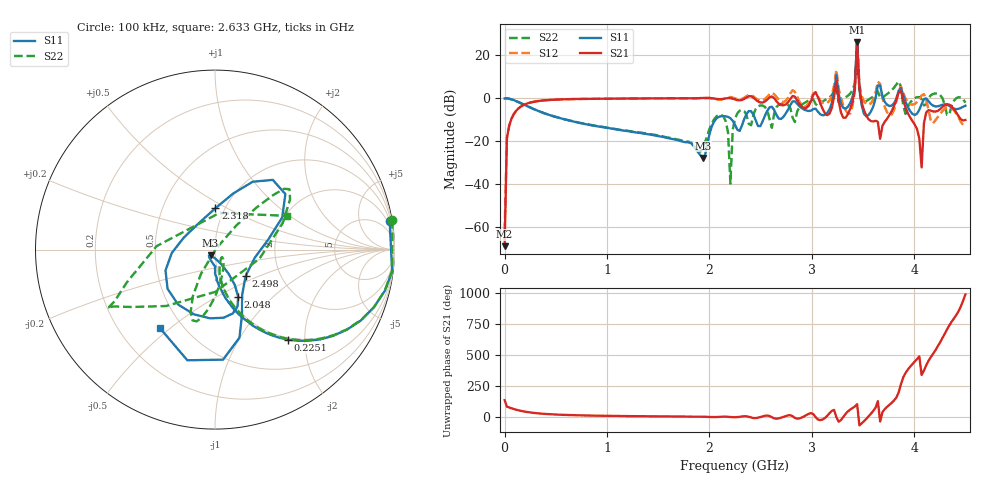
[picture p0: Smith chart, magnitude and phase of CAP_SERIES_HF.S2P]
!Agilent Technologies,E5071C,MY46101151,A.11.02
!Date: Sun Sep 24 17:06:19 2017
!Data & Calibration Information:
!Freq	S11:SOLT2(ON)	S21:SOLT2(ON)	S12:SOLT2(ON)	S22:SOLT2(ON)
!PortZ  Port1:50+j0  Port2:50+j0
!Above PortZ is port z conversion or system Z0 setting when saving the data.
!When reading, reference impedance value at option line is always used.
# Hz S dB R 50
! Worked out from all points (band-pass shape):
!   201 points, 100 kHz to 4.5 GHz, reference 50 ohm
!   highest |S21| = 26.08 dB at 3.443 GHz (marker M1); lowest = -68.8 dB at 100 kHz (marker M2)
!   |S21| within 3 dB of the highest: 3.439489 GHz to 3.445662 GHz (6.173 MHz wide, 0.179 % of centre)
!   lowest |S11| = -27.8 dB at 1.935 GHz (marker M3), VSWR 1.08, Z = 47.5 - j3.06 ohm
!   |S11| at or under -10 dB: 600 MHz to 2.059 GHz (1.459 GHz wide, 110 % of centre); 2.218 GHz to 2.338 GHz (119.2 MHz wide, 5.23 % of centre); 2.45 GHz to 2.526 GHz (76.32 MHz wide, 3.07 % of centre)
!   |S22| runs from -39.7 to 26.5 dB; largest |S21 - S12| = 3
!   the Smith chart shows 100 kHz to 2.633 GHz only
!   S11 on the Smith chart (normalised r, x): 100 kHz: 1, +12; 225.1 MHz: 0.97, -1.67; 2.048 GHz: 1.11, -0.63; 2.318 GHz: 0.90, +0.44; 2.498 GHz: 1.34, -0.41; 2.633 GHz: 0.38, -0.46
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100000  -0.12 9.4  -68.78 135.6  -61.70 75.1  0.01 9.5
2.25095e8  -3.78 -50.9  -2.36 39.4  -2.37 39.4  -3.77 -50.3
7.65083e8  -11.76 -79.1  -0.30 12.6  -0.31 12.7  -11.75 -75.4
1.507566e9  -17.67 -89.6  -0.06 5.0  -0.06 4.9  -17.45 -79.2
1.935057e9  -27.83 -127.7  0.14 2.6  -0.01 2.6  -23.06 -49.5
2.047554e9  -10.70 -63.8  -0.15 -0.9  -0.37 -0.3  -9.65 -96.1
2.25005e9  -12.34 -175.5  -0.57 -2.1  -0.07 -2.6  -9.58 45.4
2.317548e9  -12.73 89.4  -0.82 4.2  -0.33 4.6  -5.44 39.0
2.497544e9  -12.98 -40.3  -1.98 -0.5  -1.02 -3.0  -3.34 -151.6
2.632542e9  -5.45 -125.2  -0.01 -11.0  1.89 -13.7  -7.04 25.0
3.015033e9  -5.01 -41.4  1.64 23.2  2.32 3.0  -0.52 127.0
3.217528e9  3.24 -179.5  0.67 57.4  5.97 27.0  3.39 -37.0
3.240028e9  10.77 104.4  7.97 -1.5  13.22 -32.6  5.46 -136.7
3.262528e9  2.01 48.5  -1.30 -38.6  4.40 -71.7  -1.90 107.3
3.420024e9  5.41 59.7  3.84 84.3  3.26 73.8  6.98 127.2
3.442524e9  26.85 71.7  26.08 103.4  26.86 97.0  26.54 131.2
3.465023e9  4.25 -111.5  4.57 -68.4  6.48 -73.8  2.86 -74.8
3.645019e9  5.95 -78.1  -10.95 127.9  7.80 96.7  3.16 -26.0
3.757516e9  -3.59 70.6  -7.88 97.9  -7.78 -43.8  2.79 47.7
3.847514e9  3.35 133.8  2.58 -164.1  3.24 98.6  7.78 146.1
3.915013e9  -1.62 -107.5  -4.27 -4.9  -0.14 -112.3  -7.31 -169.7
4.5e9  -3.49 44.2  -10.10 -90.8  -12.21 143.0  -2.05 -86.8
